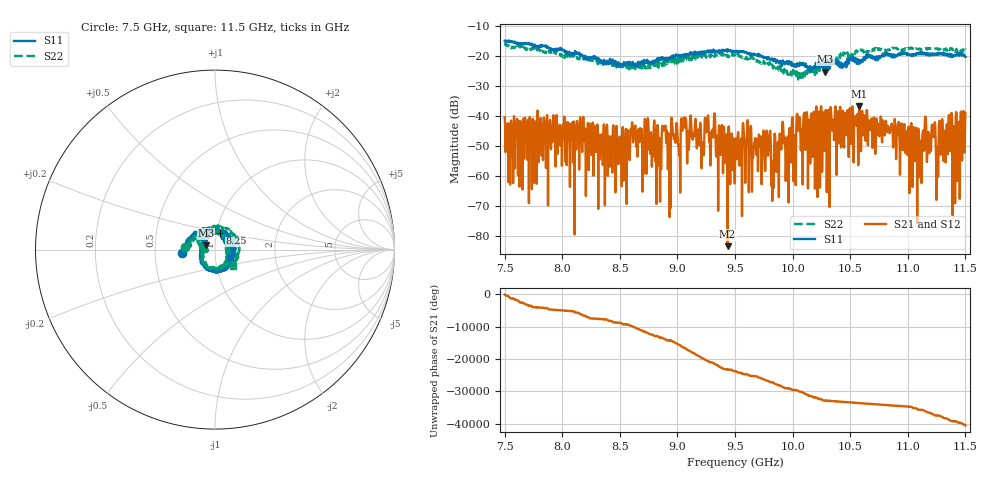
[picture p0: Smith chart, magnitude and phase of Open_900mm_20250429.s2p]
#  HZ  S  DB  R  50.00
! Rohde & Schwarz ZVA40 2Ports - Version 4.11 - 1145.1110k40 SN: 100216
! Date: 2025-04-29 18:40:13
! Measurements: S11 S21 S12 S22
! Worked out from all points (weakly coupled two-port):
!   5001 points, 7.5 GHz to 11.5 GHz, reference 50 ohm
!   highest |S21| = -36.60 dB at 10.58 GHz (marker M1); lowest = -83.3 dB at 9.436 GHz (marker M2)
!   lowest |S11| = -25.2 dB at 10.28 GHz (marker M3), VSWR 1.12, Z = 45.2 + j2.21 ohm
!   |S11| at or under -10 dB: start of sweep to end of sweep
!   |S22| runs from -28.1 to -15.6 dB; largest |S21 - S12| = 0.00014
!   S11 on the Smith chart (normalised r, x): 7.5 GHz: 0.69, -0.02; 8.25 GHz: 1.04, +0.19; 11.5 GHz: 1.19, -0.10
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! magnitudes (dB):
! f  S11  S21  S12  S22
! 7.5 GHz  -14.8  -40.3  -40.3  -15.6
! 8.167 GHz  -19.6  -45.6  -45.5  -21.3
! 8.25 GHz  -20.4  -47.1  -47.1  -20.8
! 8.834 GHz  -21.6  -48.7  -48.7  -23.8
! 8.882 GHz  -21.2  -43.3  -43.3  -22.5
! 9.021 GHz  -20.0  -50.6  -50.5  -20.8
! 9.054 GHz  -19.9  -40.9  -40.9  -21.0
! 9.436 GHz  -17.9  -83.3  -87.1  -19.9
! 9.5 GHz  -18.5  -56.7  -56.6  -19.5
! 9.79 GHz  -20.3  -51.2  -51.1  -22.7
! 9.831 GHz  -21.5  -56.7  -56.7  -24.1
! 9.904 GHz  -22.7  -49.6  -49.5  -25.1
! 9.949 GHz  -21.7  -56.0  -56.1  -24.9
! 10.05 GHz  -23.2  -44.8  -44.8  -27.5
! 10.17 GHz  -23.7  -40.4  -40.4  -24.1
! 10.28 GHz  -25.2  -40.3  -40.2  -23.3
! 10.58 GHz  -22.1  -36.6  -36.6  -18.2
! 10.83 GHz  -19.4  -44.3  -44.3  -18.1
! 11.1 GHz  -19.2  -51.7  -51.8  -17.4
! 11.22 GHz  -19.6  -46.7  -46.6  -17.4
! 11.25 GHz  -19.2  -67.9  -67.6  -17.5
! 11.5 GHz  -20.3  -38.9  -38.9  -17.7
